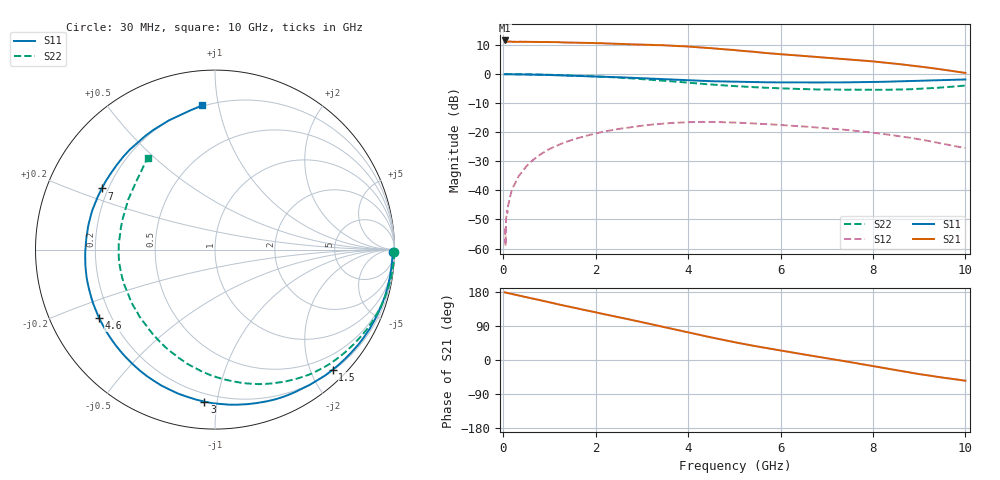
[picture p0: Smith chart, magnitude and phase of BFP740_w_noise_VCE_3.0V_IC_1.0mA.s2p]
! Infineon Technologies  Discrete & RF Semiconductors
! BFP740
! VCE =  3.0 V,  IC =  1.0 mA
! Common Emitter S-Parameters:  Jan 2016
# GHz  S  MA  R  50
!  f  S11  S21  S12  S22
! GHz  MAG  ANG  MAG  ANG  MAG  ANG  MAG  ANG
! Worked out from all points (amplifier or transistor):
!   229 points, 30 MHz to 10 GHz, reference 50 ohm
!   highest |S21| = 11.5 dB at 30 MHz (marker M1)
!   |S21| within 3 dB of that: start of sweep to 4.751 GHz
!   unconditionally stable (mu >= 1): 8.831 GHz to end of sweep
!   at 280 MHz: K = 0.03, MSG = 23.9 dB, |S12| = -36.8 dB
!   at 1.78 GHz: K = 0.15, MSG = 16.0 dB, |S12| = -21.3 dB
!   at 10 GHz: K = 1.40, MAG = 9.2 dB, |S12| = -25.5 dB
!   lowest NFmin = 0.50 dB at 450 MHz
!   S11 on the Smith chart (normalised r, x): 30 MHz: open; 1.5 GHz: 0.22, -2.36; 3 GHz: 0.15, -0.92; 4.6 GHz: 0.15, -0.27; 7 GHz: 0.18, +0.25; 10 GHz: 0.20, +0.90
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0.03  0.9893 -0.9  3.778 178.6  0.0022 78.2  1 -0.7
0.04  0.99 -1.2  3.565 178.3  0.0022 97.2  0.9998 -0.9
0.05  0.9898 -1.5  3.576 178.3  0.0011 92.4  0.9991 -1.1
0.06  0.9906 -1.8  3.562 177.8  0.003 74.0  0.9991 -1.3
0.08  0.9899 -2.4  3.58 177.2  0.0045 95.5  0.9989 -1.7
0.2  0.9879 -6.1  3.577 173.9  0.011 84.9  0.9975 -4.3
0.36  0.9849 -10.9  3.594 169.6  0.0187 82.4  0.9948 -7.6
0.9  0.9679 -27.3  3.565 155.0  0.0461 69.0  0.9774 -19.1
1.5  0.937 -45.6  3.447 138.9  0.0742 54.8  0.9433 -31.8
1.7  0.925 -51.9  3.449 133.5  0.0828 50.4  0.9303 -36.0
2.3  0.8934 -71.1  3.346 117.9  0.1071 36.7  0.8867 -49.1
3  0.849 -94.0  3.208 99.8  0.1293 20.9  0.8196 -64.7
3.4  0.8201 -108.0  3.144 89.0  0.1392 11.8  0.7765 -74.4
3.9  0.786 -125.6  3.009 75.5  0.1477 0.2  0.7214 -86.7
4.6  0.7503 -149.5  2.734 57.1  0.1499 -15.4  0.6547 -103.7
5.1  0.7338 -165.0  2.531 44.7  0.1457 -25.4  0.6158 -115.0
5.8  0.7199 176.9  2.26 29.1  0.1363 -37.6  0.5763 -130.0
6.8  0.7166 155.8  1.963 8.7  0.1204 -52.4  0.5437 -153.4
7  0.7167 151.6  1.908 4.6  0.1172 -55.1  0.5418 -158.3
8.4  0.7426 121.7  1.529 -24.5  0.0894 -72.8  0.5386 166.7
9  0.7643 109.7  1.356 -37.2  0.0757 -78.7  0.5583 149.9
10  0.8066 95.0  1.044 -54.7  0.0532 -80.0  0.6342 126.2
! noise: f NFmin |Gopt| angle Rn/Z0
0.45  0.5  0.62  13  0.41
0.9  0.58  0.64  21  0.39
1.5  0.71  0.61  32  0.38
1.9  0.76  0.58  45  0.37
2.4  0.81  0.58  52  0.35
3.5  0.96  0.55  78  0.32
5.5  1.37  0.4  148  0.29
10  2.28  0.63  -92  0.39
